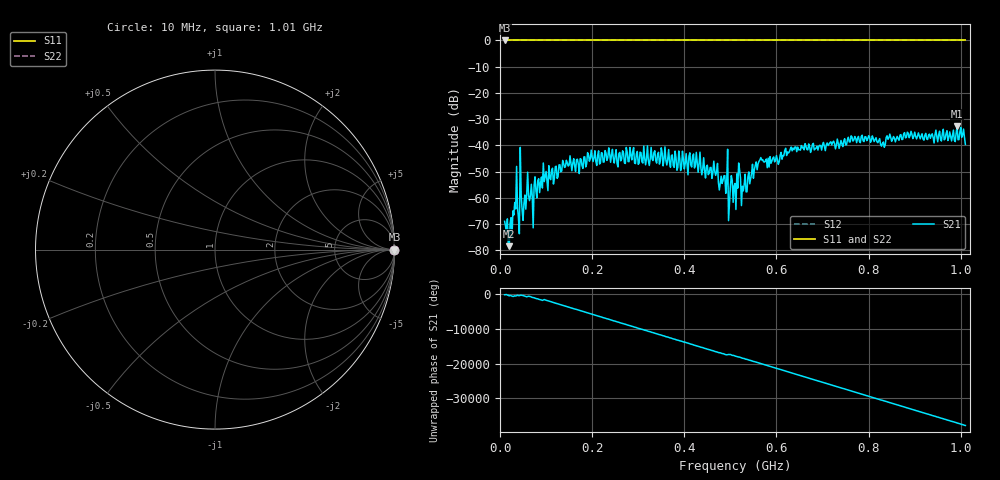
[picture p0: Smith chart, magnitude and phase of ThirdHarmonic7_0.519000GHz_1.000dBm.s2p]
! 8/17/2025 3:13:20 PM
! C:\ANRITSUVNA\TEMP\TEMP.S2P
! CHANNEL.1
! TR.MEASUREMENT
! RAW.DATA
! RF.CORRECTION.OFF
! AVERAGING.OFF
! IF.BANDWIDTH: 5KHZ
! SWEEPTYPE:  FREQ.SWEEP(Linear)
! Reference Plane Port Info
! PORT:  PORT1  PORT2
! DISTANCE:  0  m  0  m
! TIME:  0  s  0  s
! PHASE.OFFSET:  0  deg.  0  deg.
! LOSS:  0  dB  0  dB
! REF.LOSS:  0  dB  0  dB
! REF.FREQ:  0  Hz  0  Hz
! Power Info
! POWER:  -20  dBm  -20  dBm
! EFF.POWER:  -20  dBm  -20  dBm
! SOURCE.ATTEN:  0  dB  0  dB
! TEST.ATTEN:  0  dB  0  dB
# GHZ S RI R 50.0
! FREQ.GHZ  S11RE  S11IM  S21RE  S21IM  S12RE  S12IM  S22RE  S22IM
!; PortSelection: Port_12
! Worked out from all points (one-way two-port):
!   501 points, 10 MHz to 1.01 GHz, reference 50 ohm
!   highest |S21| = -32.60 dB at 992 MHz (marker M1); lowest = -78.4 dB at 20 MHz (marker M2)
!   lowest |S11| = 0.0 dB at 10 MHz (marker M3)
!   |S11| at or under -10 dB: nowhere
!   |S22| runs from 0.0 to 0.0 dB; largest |S21 - S12| = 1
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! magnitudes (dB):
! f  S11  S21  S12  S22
! 10 MHz  0.0  -68.9  0.0  0.0
! 20 MHz  0.0  -78.4  0.0  0.0
! 30 MHz  0.0  -66.5  0.0  0.0
! 32 MHz  0.0  -61.7  0.0  0.0
! 38 MHz  0.0  -63.8  0.0  0.0
! 40 MHz  0.0  -67.4  0.0  0.0
! 52 MHz  0.0  -62.0  0.0  0.0
! 58 MHz  0.0  -58.5  0.0  0.0
! 68 MHz  0.0  -54.8  0.0  0.0
! 98 MHz  0.0  -52.0  0.0  0.0
! 178 MHz  0.0  -47.7  0.0  0.0
! 344 MHz  0.0  -42.6  0.0  0.0
! 430 MHz  0.0  -50.2  0.0  0.0
! 490 MHz  0.0  -58.2  0.0  0.0
! 510 MHz  0.0  -54.5  0.0  0.0
! 518 MHz  0.0  -46.7  0.0  0.0
! 526 MHz  0.0  -55.5  0.0  0.0
! 566 MHz  0.0  -44.6  0.0  0.0
! 678 MHz  0.0  -39.7  0.0  0.0
! 844 MHz  0.0  -37.1  0.0  0.0
! 992 MHz  0.0  -32.6  0.0  0.0
! 1.01 GHz  0.0  -39.6  0.0  0.0
